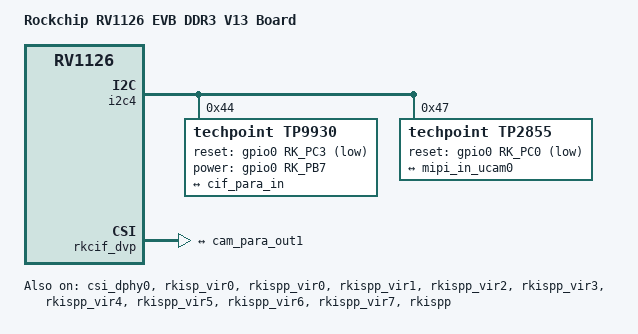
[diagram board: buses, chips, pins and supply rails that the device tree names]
// SPDX-License-Identifier: (GPL-2.0+ OR MIT)
/*
 * Copyright (c) 2020 Rockchip Electronics Co., Ltd.
 */
/dts-v1/;
#include "rv1126.dtsi"
#include "rv1126-evb-v13.dtsi"
/ {
	model = "Rockchip RV1126 EVB DDR3 V13 Board";
	compatible = "rockchip,rv1126-evb-ddr3-v13", "rockchip,rv1126";

	chosen {
		bootargs = "earlycon=uart8250,mmio32,0xff570000 console=ttyFIQ0 root=PARTUUID=614e0000-0000 rootfstype=ext4 rootwait snd_aloop.index=7 coherent_pool=2M hw_ver=v011010";
	};

	techpoint_sound: techpoint-sound {
		compatible = "simple-audio-card";
		simple-audio-card,format = "dsp_b";  
		simple-audio-card,name = "rockchip,techpoint-sound";
		simple-audio-card,bitclock-master = <&sound_codec>;
		simple-audio-card,frame-master = <&sound_codec>;
		simple-audio-card,mclk-fs = <256>;
		sound_cpu: simple-audio-card,cpu {
			sound-dai = <&i2s0_8ch>;
			dai-tdm-slot-num = <8>;
			dai-tdm-slot-width = <16>;
		};
		sound_codec: simple-audio-card,codec {
			sound-dai = <&tp2855>;
		};
	};
};

#if 0 //TP2855_TP2855

&i2c1 {
	status = "disabled";
	/delete-node/ ar0230@10;
	/delete-node/ ov4689@36;
	/delete-node/ os04a10@36;
};

&i2c4 {

	pinctrl-names = "default";
	pinctrl-0 = <&i2c4m1_xfer>;
	status = "okay";
	
	tp2855_00: tp2855_00@47 {
		compatible = "techpoint,tp2855";
		reg = <0x47>;
		clocks = <&cru CLK_MIPICSI_OUT>;
		clock-names = "xvclk";
		//avdd-supply = <&vcc_avdd>;
		//dovdd-supply = <&vcc_dovdd>;
		//dvdd-supply = <&vcc_dvdd>;
		power-domains = <&power RV1126_PD_VI>;
		pinctrl-names = "rockchip,camera_default";
		pinctrl-0 = <&mipicsi_clk0>;
		reset-gpios = <&gpio0 RK_PC0 GPIO_ACTIVE_LOW>;
		power-gpios = <&gpio0 RK_PB7 GPIO_ACTIVE_HIGH>;
		rockchip,camera-module-index = <0>;
		rockchip,camera-module-facing = "front";
		rockchip,camera-module-name = "tp2855";
		rockchip,camera-module-lens-name = "tp2855";

		port {
			ucam_out0: endpoint {
				remote-endpoint = <&mipi_in_ucam0>;
				data-lanes = <1 2 3 4>;
			};
		};
	};

	tp2855_01: tp2855_01@46 {
		compatible = "techpoint,tp2855";
		reg = <0x46>;
		clocks = <&cru CLK_MIPICSI_OUT>;
		clock-names = "xvclk";
		//avdd-supply = <&vcc_avdd>;
		//dovdd-supply = <&vcc_dovdd>;
		//dvdd-supply = <&vcc_dvdd>;
		power-domains = <&power RV1126_PD_VI>;
		pinctrl-names = "rockchip,camera_default";
		pinctrl-0 = <&mipicsi_clk0>;
		//reset-gpios = <&gpio0 RK_PC0 GPIO_ACTIVE_LOW>;
		//power-gpios = <&gpio0 RK_PB7 GPIO_ACTIVE_HIGH>;
		rockchip,camera-module-index = <1>;
		rockchip,camera-module-facing = "back";
		rockchip,camera-module-name = "tp2855";
		rockchip,camera-module-lens-name = "tp2855";

		port {
			ucam_out1: endpoint {
				remote-endpoint = <&csi_dphy1_input>;
				data-lanes = <1 2 3 4>;
			};
		};
	};
};

&csi_dphy0 {
	status = "okay";

	ports {
		#address-cells = <1>;
		#size-cells = <0>;
		port@0 {
			reg = <0>;
			#address-cells = <1>;
			#size-cells = <0>;

			mipi_in_ucam0: endpoint@1 {
				reg = <1>;
				remote-endpoint = <&ucam_out0>;
				data-lanes = <1 2 3 4>;
			};
		};
		port@1 {
			reg = <1>;
			#address-cells = <1>;
			#size-cells = <0>;

			csidphy0_out: endpoint@0 {
				reg = <0>;
				remote-endpoint = <&mipi_csi2_input>;
			};
		};
	};
};

&csi_dphy1 {
	status = "okay";

	ports {
		#address-cells = <1>;
		#size-cells = <0>;

		port@0 {
			reg = <0>;
			#address-cells = <1>;
			#size-cells = <0>;

			csi_dphy1_input: endpoint@1 {
				reg = <1>;
				remote-endpoint = <&ucam_out1>;
				data-lanes = <1 2 3 4>;
			};
		};

		port@1 {
			reg = <1>;
			#address-cells = <1>;
			#size-cells = <0>;

			csi_dphy1_output: endpoint@0 {
				reg = <0>;
				remote-endpoint = <&isp_in>;
				data-lanes = <1 2 3 4>;
			};
		};
	};
};

&mipi_csi2 {
	status = "okay";

	ports {
		#address-cells = <1>;
		#size-cells = <0>;

		port@0 {
			reg = <0>;
			#address-cells = <1>;
			#size-cells = <0>;

			mipi_csi2_input: endpoint@1 {
				reg = <1>;
				remote-endpoint = <&csidphy0_out>;
				data-lanes = <1 2 3 4>;
			};
		};

		port@1 {
			reg = <1>;
			#address-cells = <1>;
			#size-cells = <0>;

			mipi_csi2_output: endpoint@0 {
				reg = <0>;
				remote-endpoint = <&cif_mipi_in>;
				data-lanes = <1 2 3 4>;
			};
		};
	};
};

&rkcif_mipi_lvds {
	status = "okay";

	// rockchip,cif-monitor = <3 2 25 1000 5>;

	port {
		/* MIPI CSI-2 endpoint */
		cif_mipi_in: endpoint {
			remote-endpoint = <&mipi_csi2_output>;
			data-lanes = <1 2 3 4>;
		};
	};
};

&rkcif_mipi_lvds_sditf {
	status = "disabled";
	/delete-node/ port;
};

&rkisp_vir0 {
	status = "okay";
	/delete-node/ ports;

	ports {
		#address-cells = <1>;
		#size-cells = <0>;
		port@0 {
			reg = <0>;
			#address-cells = <1>;
			#size-cells = <0>;

			isp_in: endpoint@0 {
				reg = <0>;
				remote-endpoint = <&csi_dphy1_output>;
			};
		};
	};
};

&rkispp_vir0 {
	status = "disabled";
	/delete-node/ port;
};

&rkisp_vir1 {
	status = "disabled";
	/delete-node/ ports;
};

&rkispp_vir1 {
	status = "disabled";
	/delete-node/ port;
};

#endif

#if 0 //TP9930_TP2855_VICAP

&i2c1 {
	status = "disabled";
	/delete-node/ ar0230@10;
	/delete-node/ ov4689@36;
	/delete-node/ os04a10@36;
};

&i2c4 {
	tp9930: tp9930@44 {
		compatible = "techpoint,tp9930";
		reg = <0x44>;
		clocks = <&cru CLK_MIPICSI_OUT>;
		clock-names = "xvclk";
		//avdd-supply = <&vcc_avdd>;
		//dovdd-supply = <&vcc_dovdd>;
		//dvdd-supply = <&vcc_dvdd>;
		power-domains = <&power RV1126_PD_VI>;
		pinctrl-names = "rockchip,camera_default";
		pinctrl-0 = <&mipicsi_clk0 &cifm0_bt1120_ctl>;
		rockchip,grf = <&grf>;
		reset-gpios = <&gpio0 RK_PC3 GPIO_ACTIVE_LOW>;
		power-gpios = <&gpio0 RK_PB7 GPIO_ACTIVE_HIGH>;
		rockchip,camera-module-index = <1>;
		rockchip,camera-module-facing = "back";
		rockchip,camera-module-name = "default";
		rockchip,camera-module-lens-name = "default";

		/* audio */
		techpoint,audio-in-cascade = <2>;  /* the 2nd chip */

		port {
			cam_para_out1: endpoint {
				remote-endpoint = <&cif_para_in>;
				bus-width = <16>;
				pclk-sample = <1>;
			};
		};
	};

	tp2855: tp2855@47 {
		compatible = "techpoint,tp2855";
		reg = <0x47>;
		#sound-dai-cells = <0>;
		clocks = <&cru CLK_MIPICSI_OUT>;
		clock-names = "xvclk";
		//avdd-supply = <&vcc_avdd>;
		//dovdd-supply = <&vcc_dovdd>;
		//dvdd-supply = <&vcc_dvdd>;
		power-domains = <&power RV1126_PD_VI>;
		pinctrl-names = "rockchip,camera_default";
		pinctrl-0 = <&mipicsi_clk0>;
		reset-gpios = <&gpio0 RK_PC0 GPIO_ACTIVE_LOW>;
		//power-gpios = <&gpio0 RK_PB7 GPIO_ACTIVE_HIGH>;
		rockchip,camera-module-index = <0>;
		rockchip,camera-module-facing = "front";
		rockchip,camera-module-name = "tp2855";
		rockchip,camera-module-lens-name = "tp2855";

		/* audio */
		techpoint,audio-in-format = "i2s";
		techpoint,audio-in-mclk-fs = <256>;
		techpoint,audio-in-cascade-order = <1>;  /* the 1st chip */
		techpoint,audio-in-cascade-slaves = <&tp9930>;

		port {
			ucam_out0: endpoint {
				remote-endpoint = <&mipi_in_ucam0>;
				data-lanes = <1 2 3 4>;
			};
		};
	};
};

&rkcif_dvp {
	status = "okay";

	// rockchip,cif-monitor = <3 2 25 1000 5>;

	port {
		/* Parallel bus endpoint */
		cif_para_in: endpoint {
			remote-endpoint = <&cam_para_out1>;
			bus-width = <16>;
		};
	};
};

&rkcif_mmu {
	status = "disabled";
};

&csi_dphy0 {
	status = "okay";

	ports {
		#address-cells = <1>;
		#size-cells = <0>;
		port@0 {
			reg = <0>;
			#address-cells = <1>;
			#size-cells = <0>;

			mipi_in_ucam0: endpoint@1 {
				reg = <1>;
				remote-endpoint = <&ucam_out0>;
				data-lanes = <1 2 3 4>;
			};
		};
		port@1 {
			reg = <1>;
			#address-cells = <1>;
			#size-cells = <0>;

			csidphy0_out: endpoint@0 {
				reg = <0>;
				remote-endpoint = <&mipi_csi2_input>;
			};
		};
	};
};

&csi_dphy1 {
	status = "disabled";
	/delete-node/ ports;
};

&mipi_csi2 {
	status = "okay";

	ports {
		#address-cells = <1>;
		#size-cells = <0>;

		port@0 {
			reg = <0>;
			#address-cells = <1>;
			#size-cells = <0>;

			mipi_csi2_input: endpoint@1 {
				reg = <1>;
				remote-endpoint = <&csidphy0_out>;
				data-lanes = <1 2 3 4>;
			};
		};

		port@1 {
			reg = <1>;
			#address-cells = <1>;
			#size-cells = <0>;

			mipi_csi2_output: endpoint@0 {
				reg = <0>;
				remote-endpoint = <&cif_mipi_in>;
				data-lanes = <1 2 3 4>;
			};
		};
	};
};

&rkcif_mipi_lvds {
	status = "okay";

	rockchip,cif-monitor = <3 2 25 1000 5>;

	port {
		/* MIPI CSI-2 endpoint */
		cif_mipi_in: endpoint {
			remote-endpoint = <&mipi_csi2_output>;
			data-lanes = <1 2 3 4>;
		};
	};
};

&rkcif_mipi_lvds_sditf {
	status = "disabled";
	/delete-node/ port;
};

&rkisp_vir0 {
	status = "disabled";
	/delete-node/ ports;
};

&rkispp_vir0 {
	status = "disabled";
	/delete-node/ port;
};

&rkisp_vir1 {
	status = "disabled";
	/delete-node/ ports;
};

&rkispp_vir1 {
	status = "disabled";
	/delete-node/ port;
};

&pinctrl {
	cif {
		/omit-if-no-ref/
		cifm0_bt1120_ctl: cifm0_bt1120_ctl {
			rockchip,pins =
				/* cif_clkin_m0 */
				<3 RK_PC5 1 &pcfg_pull_none>,
				/* cif_clkout_m0 */
				<3 RK_PC6 1 &pcfg_pull_none>,
				/* cif_d0_m0 */
				<3 RK_PA4 1 &pcfg_pull_none>,
				/* cif_d10_m0 */
				<3 RK_PB6 1 &pcfg_pull_none>,
				/* cif_d11_m0 */
				<3 RK_PB7 1 &pcfg_pull_none>,
				/* cif_d12_m0 */
				<3 RK_PC0 1 &pcfg_pull_none>,
				/* cif_d13_m0 */
				<3 RK_PC1 1 &pcfg_pull_none>,
				/* cif_d14_m0 */
				<3 RK_PC2 1 &pcfg_pull_none>,
				/* cif_d15_m0 */
				<3 RK_PC3 1 &pcfg_pull_none>,
				/* cif_d1_m0 */
				<3 RK_PA5 1 &pcfg_pull_none>,
				/* cif_d2_m0 */
				<3 RK_PA6 1 &pcfg_pull_none>,
				/* cif_d3_m0 */
				<3 RK_PA7 1 &pcfg_pull_none>,
				/* cif_d4_m0 */
				<3 RK_PB0 1 &pcfg_pull_none>,
				/* cif_d5_m0 */
				<3 RK_PB1 1 &pcfg_pull_none>,
				/* cif_d6_m0 */
				<3 RK_PB2 1 &pcfg_pull_none>,
				/* cif_d7_m0 */
				<3 RK_PB3 1 &pcfg_pull_none>,
				/* cif_d8_m0 */
				<3 RK_PB4 1 &pcfg_pull_none>,
				/* cif_d9_m0 */
				<3 RK_PB5 1 &pcfg_pull_none>;
		};
	};
};

#endif


#if 1 //TP9930_TP2855_ISP

&i2c1 {
	status = "disabled";
	/delete-node/ ar0230@10;
	/delete-node/ ov4689@36;
	/delete-node/ os04a10@36;
};

&i2c4 {
	tp9930: tp9930@44 {   
		compatible = "techpoint,tp9930";
		reg = <0x44>;
		clocks = <&cru CLK_MIPICSI_OUT>;
		clock-names = "xvclk";
		//avdd-supply = <&vcc_avdd>;
		//dovdd-supply = <&vcc_dovdd>;
		//dvdd-supply = <&vcc_dvdd>;
		power-domains = <&power RV1126_PD_VI>;
		pinctrl-names = "rockchip,camera_default";
		pinctrl-0 = <&mipicsi_clk0 &cifm0_bt1120_ctl>;
		rockchip,grf = <&grf>;
		reset-gpios = <&gpio0 RK_PC3 GPIO_ACTIVE_LOW>; 
		power-gpios = <&gpio0 RK_PB7 GPIO_ACTIVE_HIGH>;
		rockchip,camera-module-index = <1>;
		rockchip,camera-module-facing = "back";
		rockchip,camera-module-name = "default";
		rockchip,camera-module-lens-name = "default";
		
		/* audio */
		techpoint,audio-in-cascade = <2>;  /* the 2nd chip */
		
		port {
			cam_para_out1: endpoint {
				remote-endpoint = <&cif_para_in>;
				bus-width = <16>;
				pclk-sample = <1>;
			};
		};
	};
		
	tp2855: tp2855@47 {
		compatible = "techpoint,tp2855";
		reg = <0x47>;
		#sound-dai-cells = <0>;
		clocks = <&cru CLK_MIPICSI_OUT>;
		clock-names = "xvclk";
		//avdd-supply = <&vcc_avdd>;
		//dovdd-supply = <&vcc_dovdd>;
		//dvdd-supply = <&vcc_dvdd>;
		power-domains = <&power RV1126_PD_VI>;
		pinctrl-names = "rockchip,camera_default";
		pinctrl-0 = <&mipicsi_clk0>;
		reset-gpios = <&gpio0 RK_PC0 GPIO_ACTIVE_LOW>;
		//power-gpios = <&gpio0 RK_PB7 GPIO_ACTIVE_HIGH>;
		rockchip,camera-module-index = <0>;
		rockchip,camera-module-facing = "front";
		rockchip,camera-module-name = "tp2855";
		rockchip,camera-module-lens-name = "tp2855";

		/* audio */
		techpoint,audio-in-format = "i2s";
		techpoint,audio-in-mclk-fs = <256>;
		techpoint,audio-in-cascade-order = <1>;  /* the 1st chip */
		techpoint,audio-in-cascade-slaves = <&tp9930>;

		port {
			ucam_out0: endpoint {
				remote-endpoint = <&mipi_in_ucam0>;
				data-lanes = <1 2 3 4>;
			};
		};
	};
};

&rkcif_dvp {
	status = "okay";

	// rockchip,cif-monitor = <3 2 25 1000 5>;

	port {
		/* Parallel bus endpoint */
		cif_para_in: endpoint {
			remote-endpoint = <&cam_para_out1>;
			bus-width = <16>;
		};
	};
};

&rkcif_mmu {
	status = "disabled";
};

&csi_dphy0 {
	status = "okay";

	ports {
		#address-cells = <1>;
		#size-cells = <0>;
		port@0 {
			reg = <0>;
			#address-cells = <1>;
			#size-cells = <0>;

			mipi_in_ucam0: endpoint@1 {
				reg = <1>;
				remote-endpoint = <&ucam_out0>;
				data-lanes = <1 2 3 4>;
			};
		};
		port@1 {
			reg = <1>;
			#address-cells = <1>;
			#size-cells = <0>;

			csidphy0_out: endpoint@0 {
				reg = <0>;
				remote-endpoint = <&isp_in>;
			};
		};
	};
};

&csi_dphy1 {
	status = "disabled";
	/delete-node/ ports;
};

&mipi_csi2 {
	status = "disabled";
	/delete-node/ ports;
};

&rkcif_mipi_lvds {
	status = "disabled";
	/delete-node/ port;
};

&rkcif_mipi_lvds_sditf {
	status = "disabled";
	/delete-node/ port;
};

&rkisp_vir0 {
	status = "okay";
	/delete-node/ ports;

	ports {
		#address-cells = <1>;
		#size-cells = <0>;
		port@0 {
			reg = <0>;
			#address-cells = <1>;
			#size-cells = <0>;

			isp_in: endpoint@0 {
				reg = <0>;
				remote-endpoint = <&csidphy0_out>;
			};
		};
	};
};

&rkispp_vir0 {
	status = "disabled";
	/delete-node/ port;
};

&rkisp_vir1 {
	status = "disabled";
	/delete-node/ ports;
};

&rkispp_vir1 {
	status = "disabled";
	/delete-node/ port;
};

&pinctrl {
	cif {
		/omit-if-no-ref/
		cifm0_bt1120_ctl: cifm0_bt1120_ctl {
			rockchip,pins =
				/* cif_clkin_m0 */
				<3 RK_PC5 1 &pcfg_pull_none>,
				/* cif_clkout_m0 */
				<3 RK_PC6 1 &pcfg_pull_none>,
				/* cif_d0_m0 */
				<3 RK_PA4 1 &pcfg_pull_none>,
				/* cif_d10_m0 */
				<3 RK_PB6 1 &pcfg_pull_none>,
				/* cif_d11_m0 */
				<3 RK_PB7 1 &pcfg_pull_none>,
				/* cif_d12_m0 */
				<3 RK_PC0 1 &pcfg_pull_none>,
				/* cif_d13_m0 */
				<3 RK_PC1 1 &pcfg_pull_none>,
				/* cif_d14_m0 */
				<3 RK_PC2 1 &pcfg_pull_none>,
				/* cif_d15_m0 */
				<3 RK_PC3 1 &pcfg_pull_none>,
				/* cif_d1_m0 */
				<3 RK_PA5 1 &pcfg_pull_none>,
				/* cif_d2_m0 */
				<3 RK_PA6 1 &pcfg_pull_none>,
				/* cif_d3_m0 */
				<3 RK_PA7 1 &pcfg_pull_none>,
				/* cif_d4_m0 */
				<3 RK_PB0 1 &pcfg_pull_none>,
				/* cif_d5_m0 */
				<3 RK_PB1 1 &pcfg_pull_none>,
				/* cif_d6_m0 */
				<3 RK_PB2 1 &pcfg_pull_none>,
				/* cif_d7_m0 */
				<3 RK_PB3 1 &pcfg_pull_none>,
				/* cif_d8_m0 */
				<3 RK_PB4 1 &pcfg_pull_none>,
				/* cif_d9_m0 */
				<3 RK_PB5 1 &pcfg_pull_none>;
		};
	};
};

#endif

&rkispp_vir0 {
	status = "okay";
};

&rkispp_vir1 {
	status = "okay";
};

&rkispp_vir2 {
	status = "okay";
};

&rkispp_vir3 {
	status = "okay";
};

&rkispp_vir4 {
	status = "okay";
};

&rkispp_vir5 {
	status = "okay";
};

&rkispp_vir6 {
	status = "okay";
};

&rkispp_vir7 {
	status = "okay";
};
  
&rkispp {
	status = "okay";
	max-input = <1920 1080 25>;
};

//Add by caihz : 0420
&rkispp_mmu {
	status = "disabled";
};
//End Add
